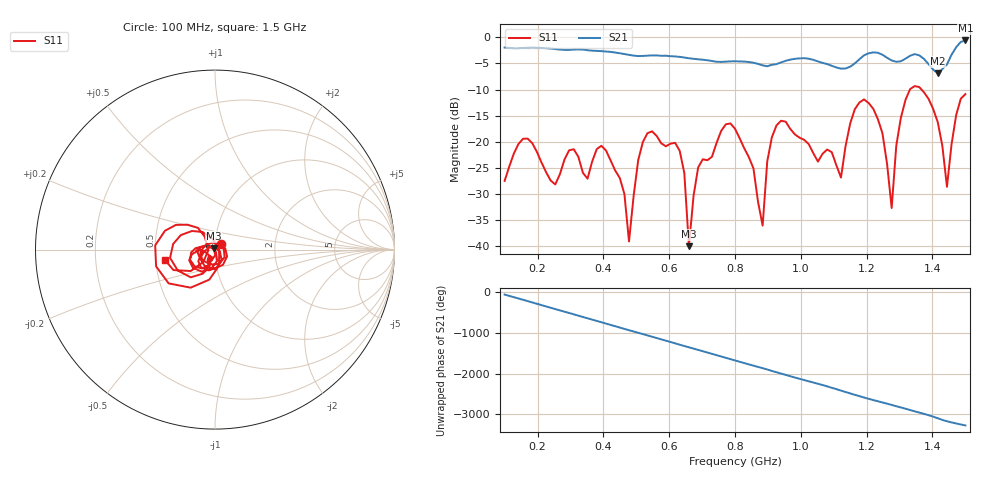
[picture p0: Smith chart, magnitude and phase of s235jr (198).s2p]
! NanoVNA-App
! Date: 2025-09-25 15:05:42
! Start: 100MHz Stop: 1,5GHz Points: 101
! S-Parameter data: F S11 S21 S12 S22
# Hz S RI R 50
!  Frequency  S11_Real  S11_Imag  S21_Real  S21_Imag  S12_Real  S12_Imag  S22_Real  S22_Imag
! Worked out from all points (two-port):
!   101 points, 100 MHz to 1.5 GHz, reference 50 ohm
!   highest |S21| = -0.61 dB at 1.5 GHz (marker M1); lowest = -6.9 dB at 1.416 GHz (marker M2)
!   |S21| within 3 dB of the highest: start of sweep to 602.6 MHz; 1.189 GHz to 1.254 GHz (65.4 MHz wide, 5.35 % of centre) (the widest 2 of 4)
!   lowest |S11| = -40.0 dB at 660 MHz (marker M3), VSWR 1.02, Z = 49.2 + j0.611 ohm
!   |S11| at or under -10 dB: start of sweep to 1.331 GHz; 1.367 GHz to end of sweep
!   S12 and S22 are empty: the file has one direction only
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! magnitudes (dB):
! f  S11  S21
! 100 MHz  -27.5  -2.0
! 156 MHz  -19.4  -2.0
! 338 MHz  -25.9  -2.4
! 408 MHz  -21.6  -2.7
! 478 MHz  -39.1  -3.4
! 520 MHz  -20.0  -3.6
! 576 MHz  -20.3  -3.5
! 632 MHz  -21.7  -3.7
! 660 MHz  -40.0  -4.0
! 688 MHz  -24.9  -4.2
! 800 MHz  -17.5  -4.6
! 884 MHz  -36.0  -5.4
! 926 MHz  -16.9  -5.1
! 1.038 GHz  -22.2  -4.3
! 1.122 GHz  -26.8  -6.0
! 1.192 GHz  -11.9  -3.5
! 1.248 GHz  -18.4  -3.3
! 1.276 GHz  -32.7  -4.4
! 1.332 GHz  -9.9  -3.5
! 1.416 GHz  -16.2  -6.9
! 1.444 GHz  -28.6  -5.2
! 1.5 GHz  -10.9  -0.6
